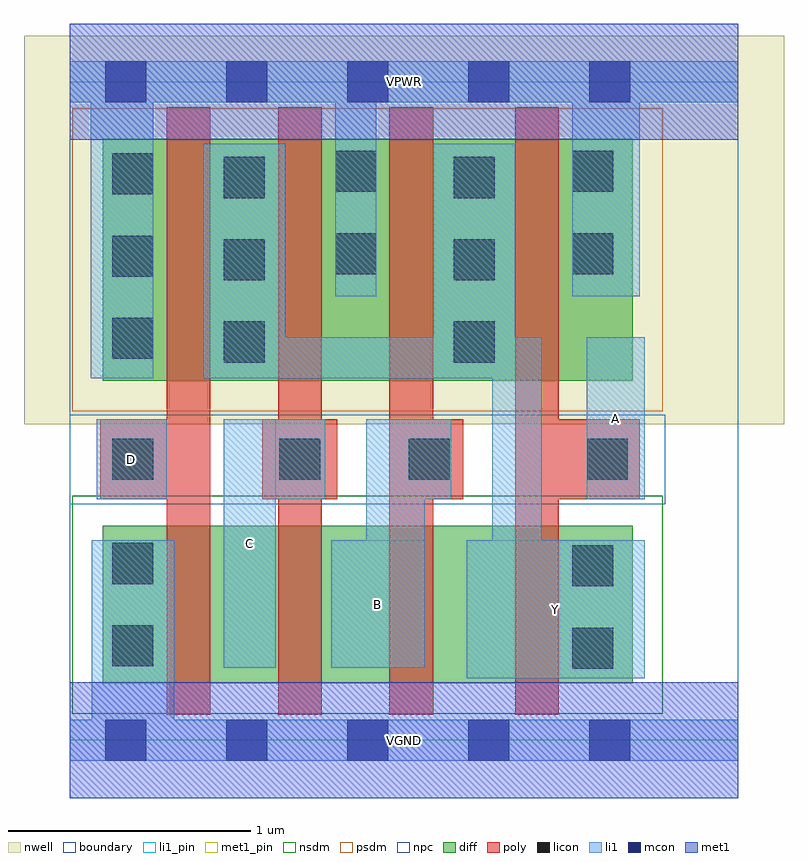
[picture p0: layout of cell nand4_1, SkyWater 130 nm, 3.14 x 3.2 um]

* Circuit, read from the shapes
.subckt nand4_1 A B C D VGND VPWR Y
XM1 n1 D VGND VSUBS sky130_fd_pr__nfet_01v8 w=0.65 l=0.18
XM2 n2 C n1 VSUBS sky130_fd_pr__nfet_01v8 w=0.65 l=0.18
XM3 n3 B n2 VSUBS sky130_fd_pr__nfet_01v8 w=0.65 l=0.18
XM4 Y A n3 VSUBS sky130_fd_pr__nfet_01v8 w=0.65 l=0.18
XM5 Y D VPWR n4 sky130_fd_pr__pfet_01v8 w=1 l=0.18
XM6 VPWR C Y n4 sky130_fd_pr__pfet_01v8 w=1 l=0.18
XM7 Y B VPWR n4 sky130_fd_pr__pfet_01v8 w=1 l=0.18
XM8 VPWR A Y n4 sky130_fd_pr__pfet_01v8 w=1 l=0.18
.ends

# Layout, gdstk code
import gdstk
lib = gdstk.Library(unit=1e-6, precision=1e-09)
def R(c, l, rs):  # rectangles x0, y0, x1, y1
    for r in rs: c.add(gdstk.rectangle(r[:2], r[2:], *l))
def A(c, l, x, y, w, h, nx, ny, dx, dy):  # array of equal rectangles
    R(c, l, [(x+i*dx, y+j*dy, x+i*dx+w, y+j*dy+h) for i in range(nx) for j in range(ny)])
nwell = (64, 20)
diff = (65, 20)
poly = (66, 20)
licon = (66, 44)
li1_pin = (67, 16)
li1 = (67, 20)
mcon = (67, 44)
met1_pin = (68, 16)
met1 = (68, 20)
nsdm = (93, 44)
psdm = (94, 20)
npc = (95, 20)
boundary = (235, 4)

nand4_1 = lib.new_cell('nand4_1')
R(nand4_1, nwell, [(-0.19,1.305,2.95,2.91), (0,1.305,2.76,2.91)])
R(nand4_1, diff, [(0.135,0.235,2.325,0.885), (0.135,1.485,2.325,2.485)])
A(nand4_1, poly, 0.4, 0.105, 0.18, 2.51, 3, 1, 0.46, 0)
R(nand4_1, poly, [(1.84,0.105,2.02,2.615), (0.125,0.995,0.58,1.325), (0.795,0.995,1.105,1.325), (1.32,0.995,1.625,1.325), (1.84,0.995,2.355,1.325)])
A(nand4_1, licon, 0.635, 1.56, 0.17, 0.17, 1, 3, 0, 0.34)
A(nand4_1, licon, 1.585, 1.56, 0.17, 0.17, 1, 3, 0, 0.34)
A(nand4_1, licon, 0.175, 1.575, 0.17, 0.17, 1, 3, 0, 0.34)
R(nand4_1, licon, [(2.075,0.295,2.245,0.465), (0.175,0.305,0.345,0.475), (2.075,0.635,2.245,0.805), (0.175,0.645,0.345,0.815), (0.175,1.075,0.345,1.245), (0.865,1.075,1.035,1.245), (1.4,1.075,1.57,1.245), (2.135,1.075,2.305,1.245), (1.095,1.925,1.265,2.095), (2.075,1.925,2.245,2.095), (1.095,2.265,1.265,2.435), (2.075,2.265,2.245,2.435)])
R(nand4_1, li1_pin, [(1.64,0.255,2.375,0.825), (0.635,0.3,0.85,1.325), (1.08,0.3,1.465,0.825), (0.11,0.995,0.4,1.325), (2.135,0.995,2.375,1.665)])
R(nand4_1, li1, [(0,-0.085,2.76,0.085), (0.09,-0.085,0.43,0.825), (1.64,0.255,2.375,0.825), (1.745,0.255,1.95,1.665), (0.635,0.3,0.85,1.325), (1.08,0.3,1.465,0.825), (1.225,0.3,1.465,1.325), (0.11,0.995,0.4,1.325), (0.635,0.995,1.055,1.325), (1.225,0.995,1.575,1.325), (2.135,0.995,2.375,1.665), (0.085,1.495,0.345,2.805), (0.55,1.495,0.89,2.465), (0.55,1.495,1.95,1.665), (1.5,1.495,1.84,2.465), (1.095,1.835,1.265,2.805), (2.075,1.835,2.355,2.805), (0,2.635,2.76,2.805)])
A(nand4_1, mcon, 0.145, -0.085, 0.17, 0.17, 5, 2, 0.5, 2.72)
R(nand4_1, met1_pin, [(0,-0.24,2.76,0.24), (0,2.48,2.76,2.96)])
R(nand4_1, met1, [(0,-0.24,2.76,0.24), (0,2.48,2.76,2.96)])
R(nand4_1, nsdm, [(0.01,0.11,2.45,1.01)])
R(nand4_1, psdm, [(0.01,1.36,2.45,2.61)])
R(nand4_1, npc, [(0,0.975,2.46,1.345)])
R(nand4_1, boundary, [(0,0,2.76,2.72)])
nand4_1.add(gdstk.Label('A', (2.255,1.33), layer=67, texttype=5))
nand4_1.add(gdstk.Label('B', (1.272,0.562), layer=67, texttype=5))
nand4_1.add(gdstk.Label('C', (0.742,0.812), layer=67, texttype=5))
nand4_1.add(gdstk.Label('D', (0.255,1.16), layer=67, texttype=5))
nand4_1.add(gdstk.Label('Y', (2.007,0.54), layer=67, texttype=5))
nand4_1.add(gdstk.Label('VPWR', (1.38,2.72), layer=68, texttype=5))
nand4_1.add(gdstk.Label('VGND', (1.38,0), layer=68, texttype=5))
nand4_1.add(gdstk.Label('A', (2.255,1.33), layer=67, texttype=16))
nand4_1.add(gdstk.Label('B', (1.272,0.562), layer=67, texttype=16))
nand4_1.add(gdstk.Label('C', (0.742,0.812), layer=67, texttype=16))
nand4_1.add(gdstk.Label('D', (0.255,1.16), layer=67, texttype=16))
nand4_1.add(gdstk.Label('Y', (2.007,0.54), layer=67, texttype=16))
nand4_1.add(gdstk.Label('VPWR', (1.38,2.72), layer=68, texttype=16))
nand4_1.add(gdstk.Label('VGND', (1.38,0), layer=68, texttype=16))

lib.write_gds('nand4_1.gds')
